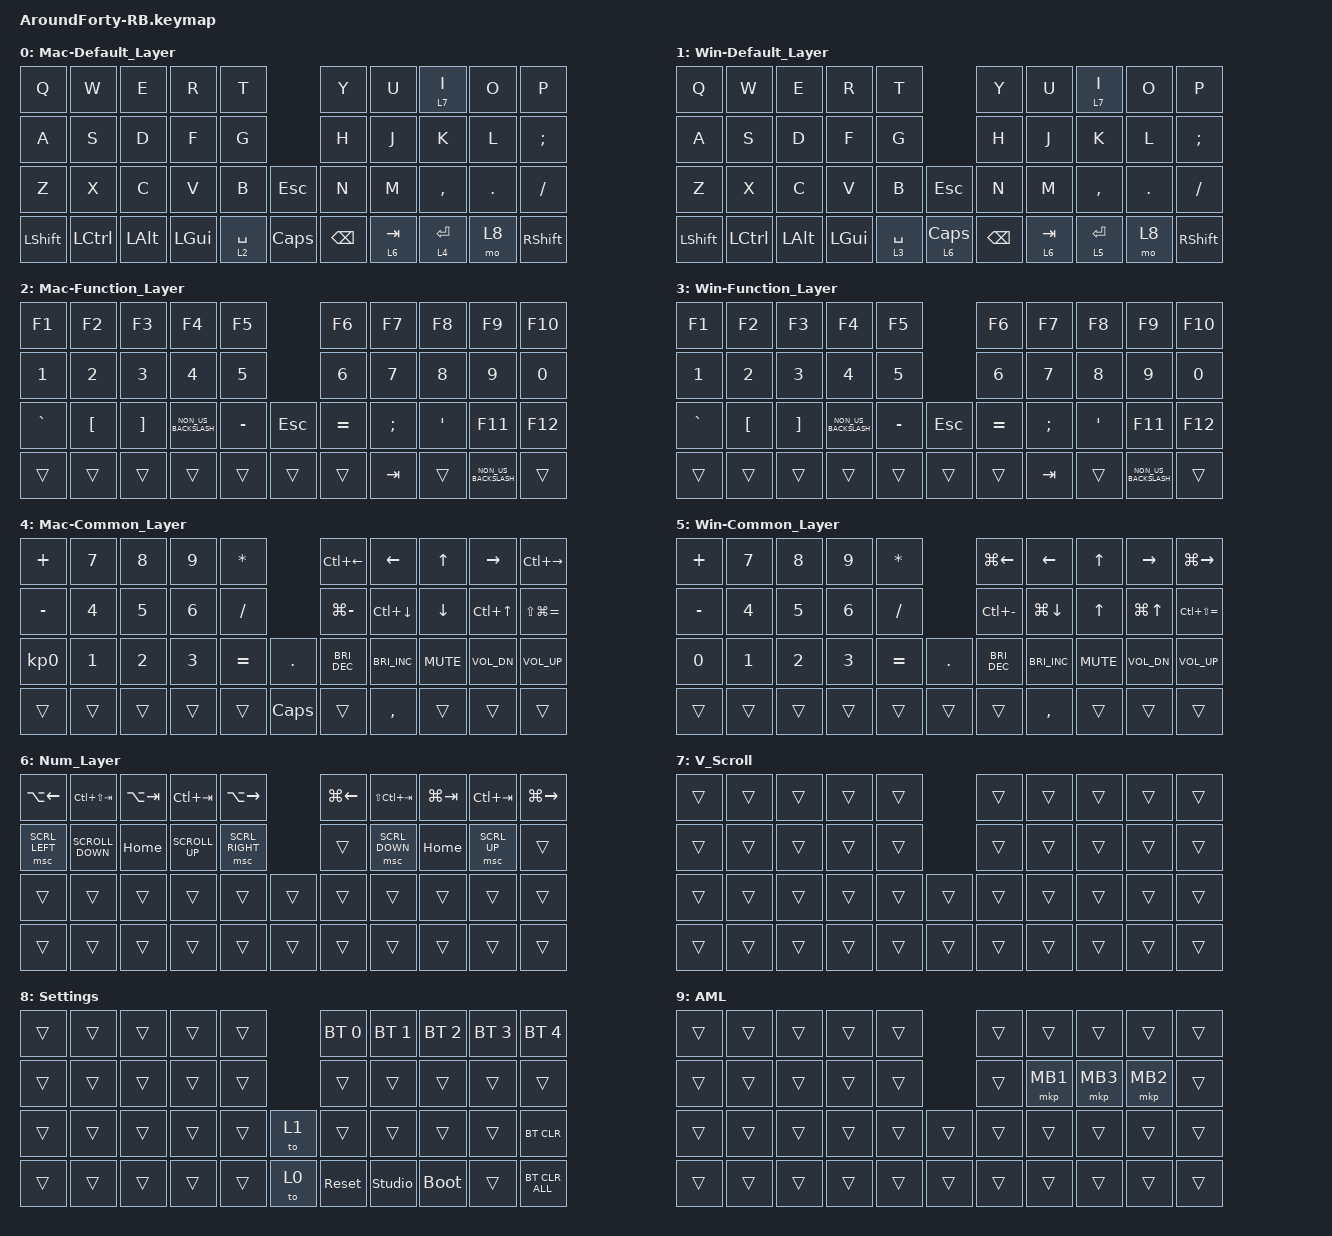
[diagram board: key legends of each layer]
#include <behaviors/rgbled_widget.dtsi>
#include <behaviors.dtsi>
#include <dt-bindings/zmk/bt.h>
#include <dt-bindings/zmk/keys.h>
#include <dt-bindings/zmk/pointing.h>

&mt {
    flavor = "balanced";
    quick-tap-ms = <0>;
};

/ {
    combos {
        compatible = "zmk,combos";

        Escape {
            bindings = <&kp ESCAPE>;
            key-positions = <0 1>;
        };
    };

    macros {
        to_layer_0: to_layer_0 {
            compatible = "zmk,behavior-macro-one-param";
            #binding-cells = <1>;
            bindings = <&to 0 &macro_param_1to1 &kp MACRO_PLACEHOLDER>;
            label = "TO_LAYER_0";
        };

        // Windows用入力切り替え：Alt + Grave (~)

        ime_tog: ime_toggle {
            compatible = "zmk,behavior-macro";
            #binding-cells = <0>;
            bindings =
                <&macro_press>,
                <&kp LALT>,
                <&macro_tap>,
                <&kp GRAVE>,
                <&macro_release>,
                <&kp LALT>;
        };

        // macOS用入力切り替え：Ctrl + Space

        mac_ime: mac_ime_toggle {
            compatible = "zmk,behavior-macro";
            #binding-cells = <0>;
            bindings =
                <&macro_press>,
                <&kp LCTRL>,
                <&macro_tap>,
                <&kp SPACE>,
                <&macro_release>,
                <&kp LCTRL>;
        };
    };

    behaviors {
        lt_to_layer_0: lt_to_layer_0 {
            compatible = "zmk,behavior-hold-tap";
            label = "LAYER_TAP_TO_0";
            bindings = <&mo>, <&to_layer_0>;

            #binding-cells = <2>;
            tapping-term-ms = <200>;
        };

        // 

        scroll_up_down: behavior_sensor_rotate_mouse_wheel_up_down {
            compatible = "zmk,behavior-sensor-rotate";
            #sensor-binding-cells = <0>;
            bindings = <&msc SCRL_UP>, <&msc SCRL_DOWN>;

            tap-ms = <20>;
        };
    };

    keymap {
        compatible = "zmk,keymap";

        Mac-Default_Layer {
            display-name = "Mac-Default_Layer";
            bindings = <
&kp Q           &kp W             &kp E         &kp R         &kp T                      &kp Y          &kp U      &lt 7 I    &kp O    &kp P
&kp A           &kp S             &kp D         &kp F         &kp G                      &kp H          &kp J      &kp K      &kp L    &kp SEMICOLON
&kp Z           &kp X             &kp C         &kp V         &kp B        &kp ESC       &kp N          &kp M      &kp COMMA  &kp DOT  &kp SLASH
&kp LEFT_SHIFT  &kp LEFT_CONTROL  &kp LEFT_ALT  &kp LEFT_GUI  &lt 2 SPACE  &kp CAPSLOCK  &kp BACKSPACE  &lt 6 TAB  &lt 4 RET  &mo 8    &kp RIGHT_SHIFT
            >;
        };

        Win-Default_Layer {
            display-name = "Win-Default_Layer";
            bindings = <
&kp Q           &kp W             &kp E         &kp R         &kp T                        &kp Y          &kp U      &lt 7 I       &kp O    &kp P
&kp A           &kp S             &kp D         &kp F         &kp G                        &kp H          &kp J      &kp K         &kp L    &kp SEMI
&kp Z           &kp X             &kp C         &kp V         &kp B        &kp ESCAPE      &kp N          &kp M      &kp COMMA     &kp DOT  &kp SLASH
&kp LEFT_SHIFT  &kp LEFT_CONTROL  &kp LEFT_ALT  &kp LEFT_GUI  &lt 3 SPACE  &lt 6 CAPSLOCK  &kp BACKSPACE  &lt 6 TAB  &lt 5 RETURN  &mo 8    &kp RIGHT_SHIFT
            >;
        };

        Mac-Function_Layer {
            display-name = "Mac-Function_Layer";
            bindings = <
&kp F1        &kp F2            &kp F3             &kp F4                &kp F5                 &kp F6        &kp F7         &kp F8        &kp F9                &kp F10
&kp NUMBER_1  &kp NUMBER_2      &kp NUMBER_3       &kp NUMBER_4          &kp NUMBER_5           &kp NUMBER_6  &kp NUMBER_7   &kp NUMBER_8  &kp NUMBER_9          &kp NUMBER_0
&kp GRAVE     &kp LEFT_BRACKET  &kp RIGHT_BRACKET  &kp NON_US_BACKSLASH  &kp MINUS     &kp ESC  &kp EQUAL     &kp SEMICOLON  &kp SQT       &kp F11               &kp F12
&trans        &trans            &trans             &trans                &trans        &trans   &trans        &kp TAB        &trans        &kp NON_US_BACKSLASH  &trans
            >;
        };

        Win-Function_Layer {
            display-name = "Win-Function_Layer";
            bindings = <
&kp F1        &kp F2            &kp F3             &kp F4                &kp F5              &kp F6        &kp F7         &kp F8   &kp F9                &kp F10
&kp NUMBER_1  &kp NUMBER_2      &kp NUMBER_3       &kp NUMBER_4          &kp N5              &kp NUMBER_6  &kp N7         &kp N8   &kp N9                &kp N0
&kp GRAVE     &kp LEFT_BRACKET  &kp RIGHT_BRACKET  &kp NON_US_BACKSLASH  &kp MINUS  &kp ESC  &kp EQUAL     &kp SEMICOLON  &kp SQT  &kp F11               &kp F12
&trans        &trans            &trans             &trans                &trans     &trans   &trans        &kp TAB        &trans   &kp NON_US_BACKSLASH  &trans
            >;
        };

        Mac-Common_Layer {
            display-name = "Mac-Common_Layer";
            bindings = <
&kp PLUS         &kp NUMBER_7  &kp NUMBER_8  &kp NUMBER_9  &kp ASTRK                &kp LC(LEFT)          &kp LEFT_ARROW        &kp UP_ARROW    &kp RIGHT_ARROW   &kp LC(RIGHT)
&kp MINUS        &kp NUMBER_4  &kp NUMBER_5  &kp NUMBER_6  &kp SLASH                &kp LG(MINUS)         &kp LC(DOWN)          &kp DOWN_ARROW  &kp LC(UP_ARROW)  &kp LS(LG(EQUAL))
&kp KP_NUMBER_0  &kp NUMBER_1  &kp NUMBER_2  &kp NUMBER_3  &kp EQUAL  &kp PERIOD    &kp C_BRIGHTNESS_DEC  &kp C_BRIGHTNESS_INC  &kp C_MUTE      &kp C_VOL_DN      &kp C_VOL_UP
&trans           &trans        &trans        &trans        &trans     &kp CAPSLOCK  &trans                &kp COMMA             &trans          &trans            &trans
            >;
        };

        Win-Common_Layer {
            display-name = "Win-Common_Layer";
            bindings = <
&kp PLUS   &kp N7        &kp N8        &kp N9        &kp ASTERISK              &kp LG(LEFT)          &kp LEFT              &kp UP_ARROW  &kp RIGHT         &kp LG(RIGHT)
&kp MINUS  &kp NUMBER_4  &kp N5        &kp NUMBER_6  &kp SLASH                 &kp LC(MINUS)         &kp LG(DOWN_ARROW)    &kp UP_ARROW  &kp LG(UP_ARROW)  &kp LC(LS(EQUAL))
&kp N0     &kp NUMBER_1  &kp NUMBER_2  &kp NUMBER_3  &kp EQUAL     &kp PERIOD  &kp C_BRIGHTNESS_DEC  &kp C_BRIGHTNESS_INC  &kp C_MUTE    &kp C_VOL_DN      &kp C_VOLUME_UP
&trans     &trans        &trans        &trans        &trans        &trans      &trans                &kp COMMA             &trans        &trans            &trans
            >;
        };

        Num_Layer {
            bindings = <
&kp LA(LEFT_ARROW)  &kp LC(LS(TAB))    &kp LA(TAB)  &kp LC(TAB)      &kp LA(RIGHT)            &kp LG(LEFT)  &kp LS(LC(TAB))  &kp LG(TAB)  &kp LC(TAB)   &kp LG(RIGHT)
&msc SCRL_LEFT      &kp K_SCROLL_DOWN  &kp HOME     &kp K_SCROLL_UP  &msc SCRL_RIGHT          &trans        &msc SCRL_DOWN   &kp HOME     &msc SCRL_UP  &trans
&trans              &trans             &trans       &trans           &trans           &trans  &trans        &trans           &trans       &trans        &trans
&trans              &trans             &trans       &trans           &trans           &trans  &trans        &trans           &trans       &trans        &trans
            >;
        };

        V_Scroll {
            bindings = <
&trans  &trans  &trans  &trans  &trans          &trans  &trans  &trans  &trans  &trans
&trans  &trans  &trans  &trans  &trans          &trans  &trans  &trans  &trans  &trans
&trans  &trans  &trans  &trans  &trans  &trans  &trans  &trans  &trans  &trans  &trans
&trans  &trans  &trans  &trans  &trans  &trans  &trans  &trans  &trans  &trans  &trans
            >;
        };

        Settings {
            display-name = "Settings";
            bindings = <
&trans  &trans  &trans  &trans  &trans         &bt BT_SEL 0  &bt BT_SEL 1    &bt BT_SEL 2  &bt BT_SEL 3  &bt BT_SEL 4
&trans  &trans  &trans  &trans  &trans         &trans        &trans          &trans        &trans        &trans
&trans  &trans  &trans  &trans  &trans  &to 1  &trans        &trans          &trans        &trans        &bt BT_CLR
&trans  &trans  &trans  &trans  &trans  &to 0  &sys_reset    &studio_unlock  &bootloader   &trans        &bt BT_CLR_ALL
            >;
        };

        AML {
            display-name = "AML";
            bindings = <
&trans  &trans  &trans  &trans  &trans          &trans  &trans    &trans    &trans    &trans
&trans  &trans  &trans  &trans  &trans          &trans  &mkp MB1  &mkp MB3  &mkp MB2  &trans
&trans  &trans  &trans  &trans  &trans  &trans  &trans  &trans    &trans    &trans    &trans
&trans  &trans  &trans  &trans  &trans  &trans  &trans  &trans    &trans    &trans    &trans
            >;
        };
    };
};
